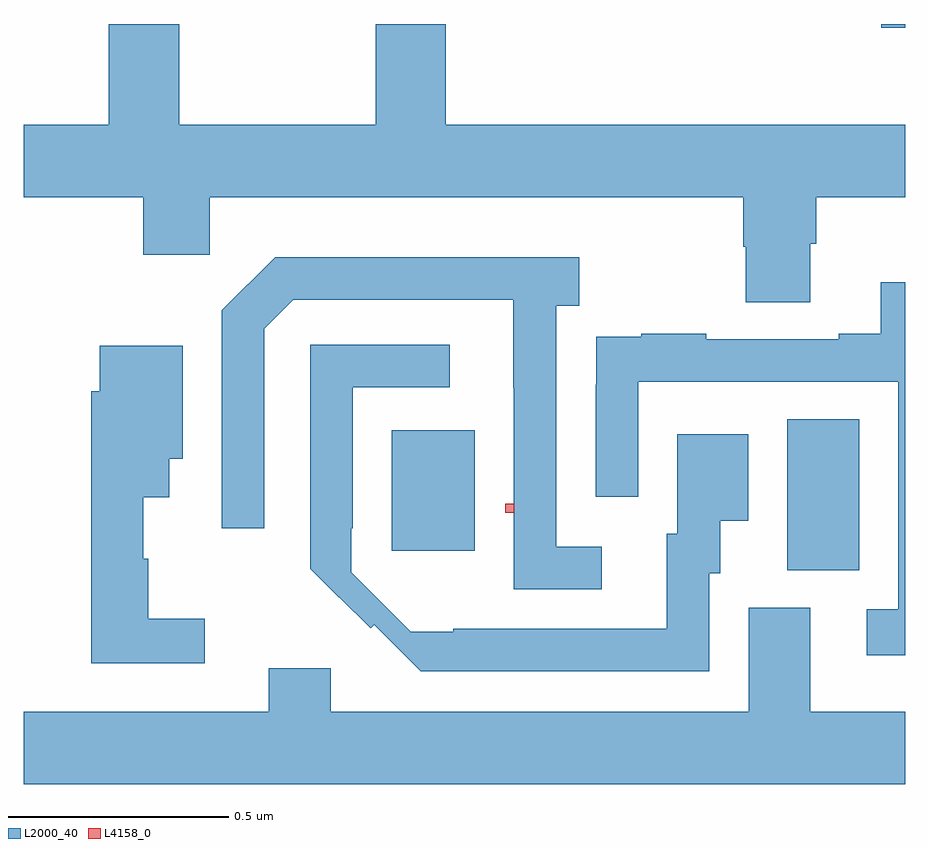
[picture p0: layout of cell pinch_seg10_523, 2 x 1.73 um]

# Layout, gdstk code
import gdstk
lib = gdstk.Library(unit=1e-6, precision=1e-09)
def R(c, l, rs):  # rectangles x0, y0, x1, y1
    for r in rs: c.add(gdstk.rectangle(r[:2], r[2:], *l))
def P(c, l, *ps):  # polygons
    for p in ps: c.add(gdstk.Polygon(p, *l))
L2000_40 = (2000, 40)
L4158_0 = (4158, 0)

pinch_seg10_523 = lib.new_cell('pinch_seg10_523')
R(pinch_seg10_523, L2000_40, [(361.166,1299.469,361.33,1299.812), (360.269,1299.513,360.457,1299.787), (361.38,1300.7,361.434,1300.709)])
P(pinch_seg10_523, L2000_40, [(361.219,1300.21),(361.232,1300.21),(361.232,1300.316),(361.434,1300.316),(361.434,1300.48),(360.392,1300.48),(360.392,1300.709),(360.232,1300.709),(360.232,1300.48),(359.787,1300.48),(359.787,1300.709),(359.627,1300.709),(359.627,1300.48),(359.434,1300.48),(359.434,1300.316),(359.705,1300.316),(359.705,1300.185),(359.856,1300.185),(359.856,1300.316),(361.067,1300.316),(361.067,1300.203),(361.072,1300.203),(361.072,1300.078),(361.219,1300.078)],
  [(360.745,1299.522),(360.642,1299.522),(360.642,1300.07),(360.694,1300.07),(360.694,1300.18),(360.004,1300.18),(359.883,1300.059),(359.883,1299.564),(359.979,1299.564),(359.979,1300.017),(360.045,1300.083),(360.545,1300.083),(360.545,1299.883),(360.546,1299.883),(360.546,1299.426),(360.745,1299.426)],
  [(361.434,1300.123),(361.379,1300.123),(361.379,1300.006),(361.283,1300.006),(361.283,1299.993),(360.983,1299.993),(360.983,1300.006),(360.835,1300.006),(360.835,1299.999),(360.733,1299.999),(360.733,1299.89),(360.732,1299.89),(360.732,1299.636),(360.828,1299.636),(360.828,1299.897),(361.419,1299.897),(361.419,1299.381),(361.347,1299.381),(361.347,1299.276),(361.434,1299.276)],
  [(360.99,1299.462),(361.015,1299.462),(361.015,1299.581),(361.078,1299.581),(361.078,1299.778),(360.917,1299.778),(360.917,1299.552),(360.893,1299.552),(360.893,1299.336),(360.409,1299.336),(360.409,1299.33),(360.312,1299.33),(360.177,1299.465),(360.177,1299.565),(360.18,1299.565),(360.18,1299.885),(360.4,1299.885),(360.4,1299.981),(360.084,1299.981),(360.084,1299.473),(360.149,1299.408),(360.15,1299.408),(360.221,1299.338),(360.229,1299.346),(360.335,1299.24),(360.99,1299.24)],
  [(359.845,1299.359),(359.716,1299.359),(359.716,1299.495),(359.705,1299.495),(359.705,1299.635),(359.764,1299.635),(359.764,1299.722),(359.794,1299.722),(359.794,1299.979),(359.606,1299.979),(359.606,1299.875),(359.587,1299.875),(359.587,1299.258),(359.845,1299.258)],
  [(361.434,1299.148),(361.219,1299.148),(361.219,1299.384),(361.079,1299.384),(361.079,1299.148),(360.13,1299.148),(360.13,1299.247),(359.99,1299.247),(359.99,1299.148),(359.434,1299.148),(359.434,1298.984),(361.434,1298.984)])
R(pinch_seg10_523, L4158_0, [(360.527,1299.6,360.547,1299.62)])

lib.write_gds('pinch_seg10_523.gds')
